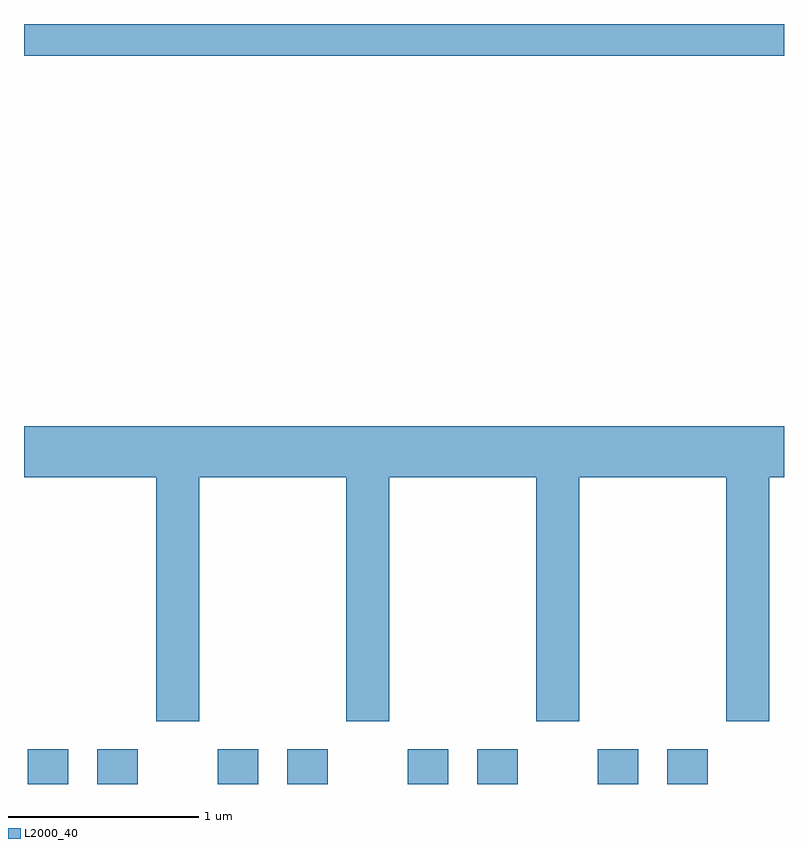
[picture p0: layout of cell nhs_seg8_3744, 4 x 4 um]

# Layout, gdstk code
import gdstk
lib = gdstk.Library(unit=1e-6, precision=1e-09)
def R(c, l, rs):  # rectangles x0, y0, x1, y1
    for r in rs: c.add(gdstk.rectangle(r[:2], r[2:], *l))
def P(c, l, *ps):  # polygons
    for p in ps: c.add(gdstk.Polygon(p, *l))
L2000_40 = (2000, 40)

nhs_seg8_3744 = lib.new_cell('nhs_seg8_3744')
R(nhs_seg8_3744, L2000_40, [(297.631,1850.342,297.844,1850.524), (297.996,1850.342,298.209,1850.524), (298.631,1850.342,298.844,1850.524), (298.996,1850.342,299.209,1850.524), (299.631,1850.342,299.844,1850.524), (299.996,1850.342,300.209,1850.524), (300.631,1850.342,300.844,1850.524), (300.996,1850.342,301.209,1850.524), (297.611,1854.176,301.611,1854.342)])
P(nhs_seg8_3744, L2000_40, [(298.534,1851.956),(299.306,1851.956),(299.306,1850.671),(299.534,1850.671),(299.534,1851.956),(300.306,1851.956),(300.306,1850.671),(300.534,1850.671),(300.534,1851.956),(301.306,1851.956),(301.306,1850.671),(301.534,1850.671),(301.534,1851.956),(301.611,1851.956),(301.611,1852.224),(297.611,1852.224),(297.611,1851.956),(298.306,1851.956),(298.306,1850.671),(298.534,1850.671)])

lib.write_gds('nhs_seg8_3744.gds')
